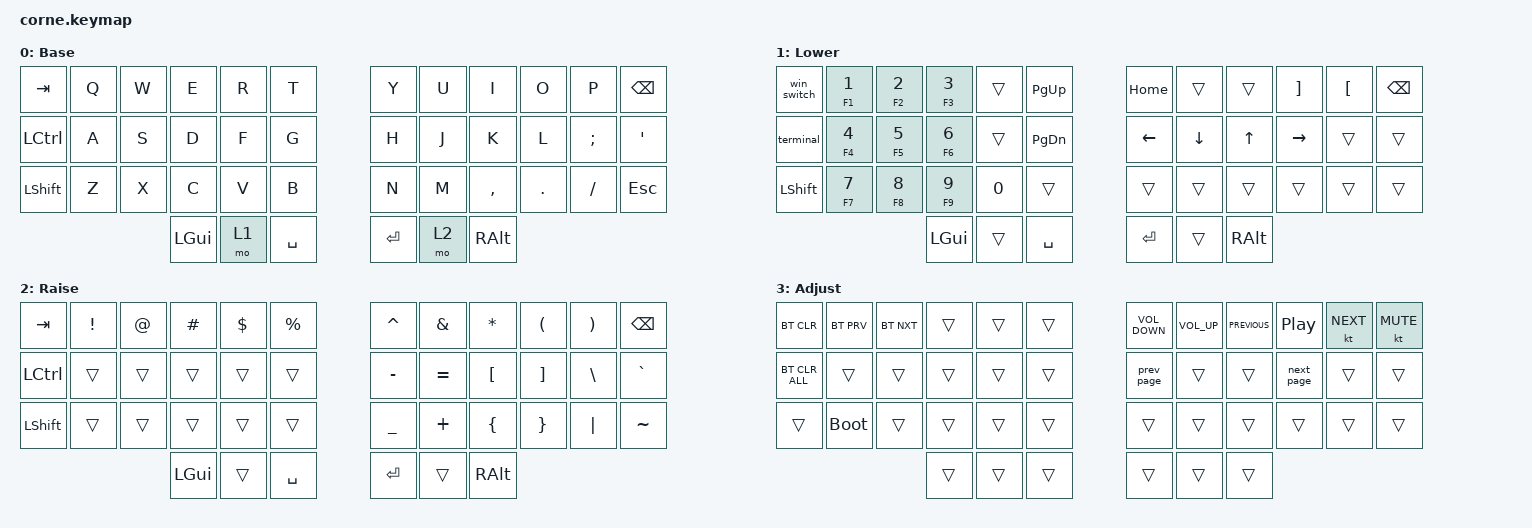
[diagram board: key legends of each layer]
/*
 * Copyright (c) 2020 The ZMK Contributors
 *
 * SPDX-License-Identifier: MIT
 */

#include <behaviors.dtsi>
#include <dt-bindings/zmk/bt.h>
#include <dt-bindings/zmk/keys.h>
#include <dt-bindings/zmk/keys.h>

&mt { tapping-term-ms = <400>; };

/ {
    macros {
        win_switch: win_switch {
            compatible = "zmk,behavior-macro";
            #binding-cells = <0>;
            bindings = <&kp LG(GRAVE)>;
            label = "WIN_SWITCH";
        };

        terminal: terminal {
            compatible = "zmk,behavior-macro";
            #binding-cells = <0>;
            bindings = <&kp LC(ESC)>;
            label = "TERMINAL";
        };

        next_page: next_page {
            compatible = "zmk,behavior-macro";
            #binding-cells = <0>;
            bindings = <&kp LG(LS(RIGHT_BRACKET))>;
            label = "NEXT_PAGE";
        };

        prev_page: prev_page {
            compatible = "zmk,behavior-macro";
            #binding-cells = <0>;
            bindings = <&kp LG(LS(LEFT_BRACKET))>;
            label = "PREV_PAGE";
        };
    };

    combos {
        compatible = "zmk,combos";

        IO {
            bindings = <&kp LEFT_PARENTHESIS>;
            key-positions = <6 7>;
        };

        OP {
            bindings = <&kp RIGHT_PARENTHESIS>;
            key-positions = <7 8>;
        };

        KL {
            bindings = <&kp LEFT_BRACKET>;
            key-positions = <18 19>;
        };

        lsemocolon {
            bindings = <&kp RIGHT_BRACKET>;
            key-positions = <19 20>;
        };

        left_brace {
            bindings = <&kp LEFT_BRACE>;
            key-positions = <30 31>;
        };

        right_brace {
            bindings = <&kp RIGHT_BRACE>;
            key-positions = <31 32>;
        };
    };

    keymap {
        compatible = "zmk,keymap";

        default_layer {
            // -----------------------------------------------------------------------------------------
            // |  TAB |  Q  |  W  |  E  |  R  |  T  |   |  Y  |  U   |  I  |  O  |  P  | BKSP |
            // | CTRL |  A  |  S  |  D  |  F  |  G  |   |  H  |  J   |  K  |  L  |  ;  |  '   |
            // | SHFT |  Z  |  X  |  C  |  V  |  B  |   |  N  |  M   |  ,  |  .  |  /  | ESC  |
            //                    | GUI | LWR | SPC |   | ENT | RSE  | ALT |

            bindings = <
&kp TAB    &kp Q  &kp W  &kp E         &kp R  &kp T        &kp Y    &kp U  &kp I      &kp O    &kp P     &kp BSPC
&kp LCTRL  &kp A  &kp S  &kp D         &kp F  &kp G        &kp H    &kp J  &kp K      &kp L    &kp SEMI  &kp SQT
&kp LSHFT  &kp Z  &kp X  &kp C         &kp V  &kp B        &kp N    &kp M  &kp COMMA  &kp DOT  &kp FSLH  &kp ESC
                         &kp LEFT_GUI  &mo 1  &kp SPACE    &kp RET  &mo 2  &kp RALT
            >;

            label = "Base";
        };

        lower_layer {
            // -----------------------------------------------------------------------------------------
            // |  TAB |  1  |  2  |  3  |  4  |  5  |   |  6  |  7  |  8  |  9  |  0  | BKSP |
            // | BTCLR| BT1 | BT2 | BT3 | BT4 | BT5 |   | LFT | DWN |  UP | RGT |     |      |
            // | SHFT |     |     |     |     |     |   |     |     |     |     |     |      |
            //                    | GUI |     | SPC |   | ENT |     | ALT |

            bindings = <
&win_switch  &mt F1 N1  &mt F2 N2  &mt F3 N3  &trans  &kp PAGE_UP      &kp HOME  &trans    &trans        &kp RIGHT_BRACKET  &kp LEFT_BRACKET  &kp BSPC
&terminal    &mt F4 N4  &mt F5 N5  &mt F6 N6  &trans  &kp PAGE_DOWN    &kp LEFT  &kp DOWN  &kp UP_ARROW  &kp RIGHT          &trans            &trans
&kp LSHFT    &mt F7 N7  &mt F8 N8  &mt F9 N9  &kp N0  &trans           &trans    &trans    &trans        &trans             &trans            &trans
                                   &kp LGUI   &trans  &kp SPACE        &kp RET   &trans    &kp RALT
            >;

            label = "Lower";
        };

        raise_layer {
            // -----------------------------------------------------------------------------------------
            // |  TAB |  !  |  @  |  #  |  $  |  %  |   |  ^  |  &  |  *  |  (  |  )  | BKSP |
            // | CTRL |     |     |     |     |     |   |  -  |  =  |  [  |  ]  |  \  |  `   |
            // | SHFT |     |     |     |     |     |   |  _  |  +  |  {  |  }  | "|" |  ~   |
            //                    | GUI |     | SPC |   | ENT |     | ALT |

            bindings = <
&kp TAB    &kp EXCL  &kp AT  &kp HASH  &kp DLLR  &kp PRCNT    &kp CARET  &kp AMPS   &kp ASTRK  &kp LPAR  &kp RPAR  &kp BSPC
&kp LCTRL  &trans    &trans  &trans    &trans    &trans       &kp MINUS  &kp EQUAL  &kp LBKT   &kp RBKT  &kp BSLH  &kp GRAVE
&kp LSHFT  &trans    &trans  &trans    &trans    &trans       &kp UNDER  &kp PLUS   &kp LBRC   &kp RBRC  &kp PIPE  &kp TILDE
                             &kp LGUI  &trans    &kp SPACE    &kp RET    &trans     &kp RALT
            >;

            label = "Raise";
        };

        adjust_layer {
            bindings = <
&bt BT_CLR      &bt BT_PRV   &bt BT_NXT  &trans  &trans  &trans    &kp K_VOLUME_DOWN  &kp K_VOLUME_UP  &kp K_PREVIOUS  &kp C_PLAY_PAUSE  &kt C_NEXT  &kt C_MUTE
&bt BT_CLR_ALL  &trans       &trans      &trans  &trans  &trans    &prev_page         &trans           &trans          &next_page        &trans      &trans
&trans          &bootloader  &trans      &trans  &trans  &trans    &trans             &trans           &trans          &trans            &trans      &trans
                                         &trans  &trans  &trans    &trans             &trans           &trans
            >;

            label = "Adjust";
        };
    };

    conditional_layers {
        compatible = "zmk,conditional-layers";

        ADJ_LAYER_CONDITION {
            if-layers = <1 2>;
            then-layer = <3>;
        };
    };
};
